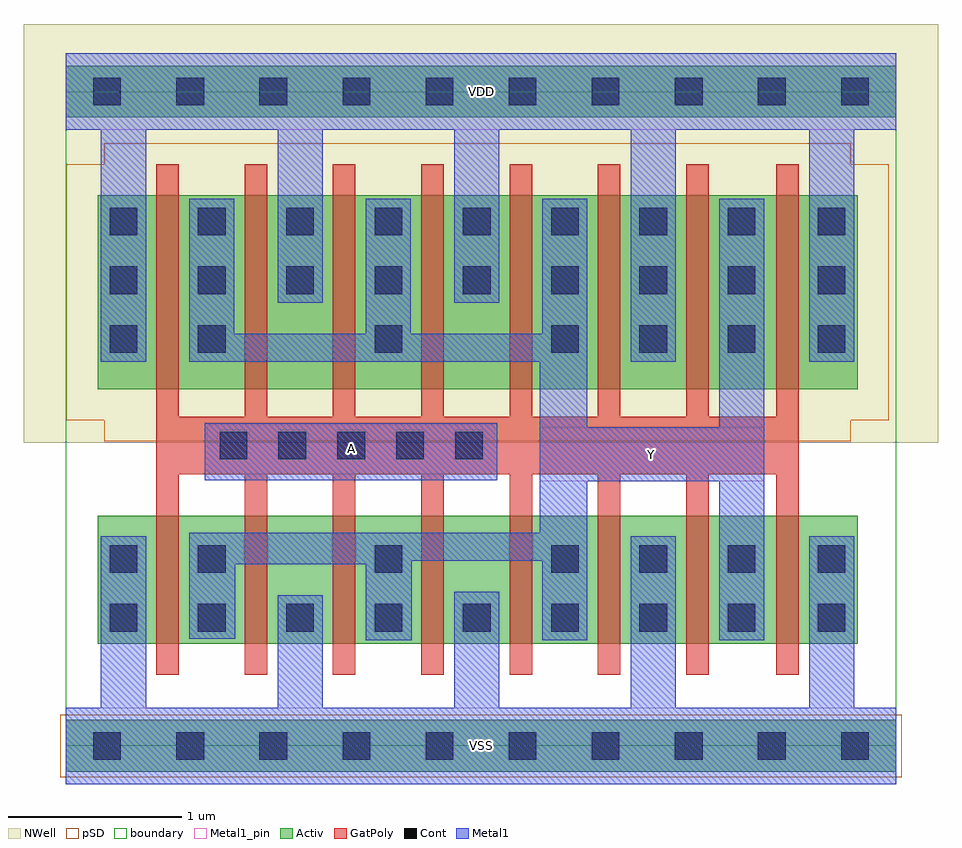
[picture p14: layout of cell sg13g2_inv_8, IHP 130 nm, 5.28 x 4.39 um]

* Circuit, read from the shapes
.subckt sg13g2_inv_8 A VDD VSS Y
XM1 Y A VSS VSS sg13_lv_nmos w=0.74u l=0.13u m=8
XM2 Y A VDD VDD sg13_lv_pmos w=1.12u l=0.13u m=8
.ends

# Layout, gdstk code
import gdstk
lib = gdstk.Library(unit=1e-6, precision=1e-09)
def R(c, l, rs):  # rectangles x0, y0, x1, y1
    for r in rs: c.add(gdstk.rectangle(r[:2], r[2:], *l))
def A(c, l, x, y, w, h, nx, ny, dx, dy):  # array of equal rectangles
    R(c, l, [(x+i*dx, y+j*dy, x+i*dx+w, y+j*dy+h) for i in range(nx) for j in range(ny)])
Activ = (1, 0)
GatPoly = (5, 0)
Cont = (6, 0)
Metal1 = (8, 0)
Metal1_pin = (8, 2)
pSD = (14, 0)
NWell = (31, 0)
boundary = (189, 4)

sg13g2_inv_8 = lib.new_cell('sg13g2_inv_8')
R(sg13g2_inv_8, Activ, [(0,-0.15,4.8,0.15), (0.185,0.59,4.575,1.33), (0.185,2.06,4.575,3.18), (0,3.63,4.8,3.93)])
A(sg13g2_inv_8, GatPoly, 0.525, 0.41, 0.13, 1.16, 7, 1, 0.51, 0)
A(sg13g2_inv_8, GatPoly, 0.525, 1.9, 0.13, 1.46, 7, 1, 0.51, 0)
R(sg13g2_inv_8, GatPoly, [(4.105,0.41,4.235,1.57), (0.525,1.57,4.235,1.9), (4.105,1.9,4.235,3.36)])
A(sg13g2_inv_8, Cont, 0.16, -0.08, 0.16, 0.16, 10, 2, 0.48, 3.78)
A(sg13g2_inv_8, Cont, 0.255, 0.66, 0.16, 0.16, 8, 2, 0.51, 1.95)
A(sg13g2_inv_8, Cont, 0.765, 1, 0.16, 0.16, 3, 2, 1.02, 1.27)
A(sg13g2_inv_8, Cont, 0.89, 1.655, 0.16, 0.16, 5, 1, 0.34, 0)
A(sg13g2_inv_8, Cont, 4.345, 2.27, 0.16, 0.16, 1, 3, 0, 0.34)
A(sg13g2_inv_8, Cont, 0.255, 2.95, 0.16, 0.16, 8, 1, 0.51, 0)
R(sg13g2_inv_8, Cont, [(4.345,0.66,4.505,0.82), (0.255,1,0.415,1.16), (3.315,1,3.475,1.16), (3.825,1,3.985,1.16), (4.345,1,4.505,1.16), (0.255,2.27,0.415,2.43), (3.315,2.27,3.475,2.43), (3.825,2.27,3.985,2.43)])
A(sg13g2_inv_8, Metal1, 0.715, 2.38, 0.26, 0.78, 3, 1, 1.02, 0)
R(sg13g2_inv_8, Metal1, [(0,-0.22,4.8,0.22), (0.205,0.22,0.465,1.21), (1.225,0.22,1.485,0.87), (2.245,0.22,2.505,0.89), (3.265,0.22,3.525,1.21), (4.295,0.22,4.555,1.21), (1.735,0.61,2,1.05), (2.755,0.61,3.015,1.07), (3.775,0.61,4.035,1.53), (0.715,0.62,0.98,1.05), (0.715,1.05,2,1.07), (0.715,1.07,3.015,1.23), (2.74,1.23,3.015,1.53), (2.74,1.53,4.035,1.84), (0.805,1.535,2.495,1.865), (2.74,1.84,3.015,2.22), (3.775,1.84,4.035,3.16), (0.205,2.22,0.465,3.56), (0.715,2.22,3.015,2.38), (3.265,2.22,3.525,3.56), (4.295,2.22,4.555,3.56), (1.225,2.56,1.485,3.56), (2.245,2.56,2.505,3.56), (0,3.56,4.8,4)])
R(sg13g2_inv_8, Metal1_pin, [(0,-0.22,4.8,0.22), (2.74,1.53,4.035,1.84), (0.805,1.57,2.495,1.865), (0,3.56,4.8,4)])
R(sg13g2_inv_8, pSD, [(-0.03,-0.18,4.83,0.18), (0.225,1.76,4.535,1.88), (0.005,1.88,4.755,3.36), (0.225,3.36,4.535,3.48)])
R(sg13g2_inv_8, NWell, [(-0.24,1.75,5.04,4.17)])
R(sg13g2_inv_8, boundary, [(0,0,4.8,3.78)])
sg13g2_inv_8.add(gdstk.Label('Y', (3.387,1.685), layer=8, texttype=25))
sg13g2_inv_8.add(gdstk.Label('A', (1.65,1.717), layer=8, texttype=25))
sg13g2_inv_8.add(gdstk.Label('VSS', (2.4,0), layer=8, texttype=25))
sg13g2_inv_8.add(gdstk.Label('VDD', (2.4,3.78), layer=8, texttype=25))

lib.write_gds('sg13g2_inv_8.gds')
